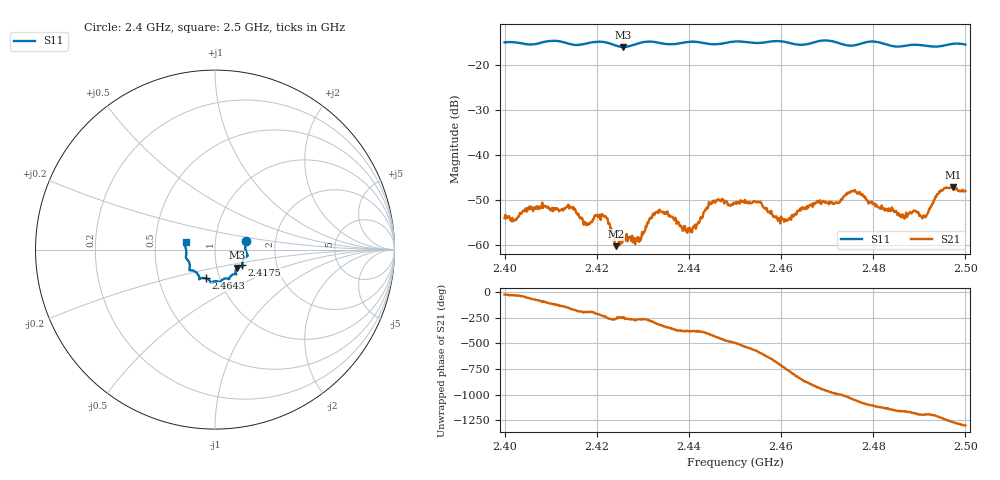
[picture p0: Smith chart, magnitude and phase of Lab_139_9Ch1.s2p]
# Hz S RI R 50
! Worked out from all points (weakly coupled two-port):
!   601 points, 2.4 GHz to 2.5 GHz, reference 50 ohm
!   highest |S21| = -47.20 dB at 2.4973 GHz (marker M1); lowest = -60.3 dB at 2.4242 GHz (marker M2)
!   lowest |S11| = -16.0 dB at 2.4257 GHz (marker M3), VSWR 1.38, Z = 62.5 - j13 ohm
!   |S11| at or under -10 dB: start of sweep to end of sweep
!   S12 and S22 are empty: the file has one direction only
!   S11 on the Smith chart (normalised r, x): 2.4 GHz: 1.41, +0.14; 2.4175 GHz: 1.33, -0.23; 2.4643 GHz: 0.86, -0.28; 2.5 GHz: 0.72, +0.06
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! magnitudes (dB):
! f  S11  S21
! 2.4 GHz  -15.0  -54.1
! 2.4087 GHz  -14.8  -51.4
! 2.4167 GHz  -15.4  -54.2
! 2.4175 GHz  -15.3  -55.2
! 2.4217 GHz  -14.9  -53.8
! 2.4242 GHz  -15.7  -60.3
! 2.4257 GHz  -16.0  -59.0
! 2.4292 GHz  -15.1  -59.4
! 2.4333 GHz  -15.0  -53.0
! 2.4402 GHz  -14.8  -56.3
! 2.4448 GHz  -15.4  -50.7
! 2.45 GHz  -14.8  -50.8
! 2.4552 GHz  -15.1  -50.5
! 2.461 GHz  -14.9  -54.4
! 2.4643 GHz  -15.5  -52.4
! 2.4667 GHz  -15.1  -51.0
! 2.4757 GHz  -15.7  -48.1
! 2.4833 GHz  -15.6  -51.9
! 2.491 GHz  -15.6  -53.5
! 2.4943 GHz  -15.8  -48.2
! 2.4973 GHz  -15.3  -47.2
! 2.5 GHz  -15.4  -48.0
